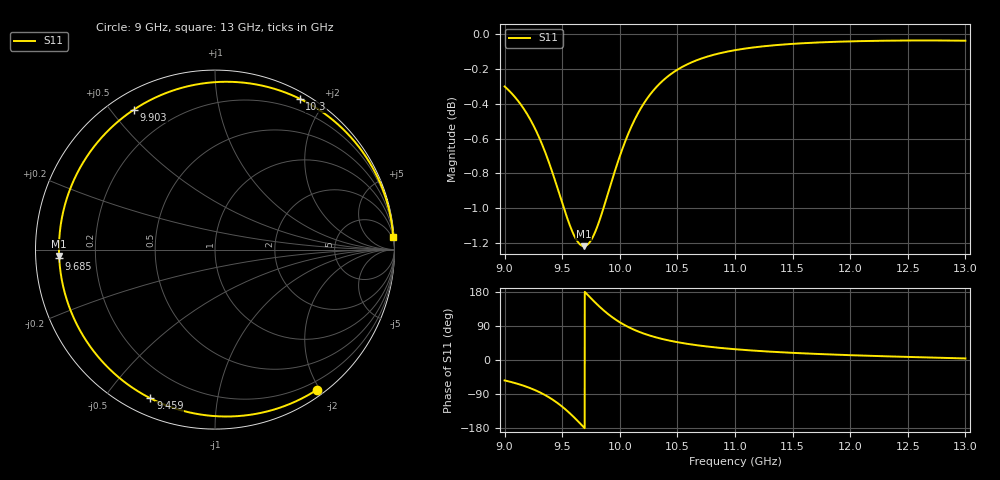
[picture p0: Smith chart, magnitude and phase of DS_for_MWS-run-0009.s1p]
! TOUCHSTONE file generated by CST DESIGN STUDIO
! Date and time: Tue Feb  4 17:17:02 2025
! Project name: C:\Work\MatlabApps\UnitCellOptimizationMatlab\CST\unitcell.cst
! Tree item: Tasks\Sweep1\SPara1\S-Parameters
! Header version: 2024
! Port assignment regex: !\s*Touchstone port\s*([0-9]+)\s*=\s*(CST MWS port|CST DES external port|CST DES block port)\s*(.+)\s* \(\"(.*)\"\)(\s*mode\s*([0-9]+))?.*
! Touchstone port assignment:
! Touchstone port 1 = CST DES external port 1 ("")
# GHz S MA R 50
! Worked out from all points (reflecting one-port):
!   4001 points, 9 GHz to 13 GHz, reference 50 ohm
!   lowest |S11| = -1.2 dB at 9.688 GHz (marker M1), VSWR 14.31, Z = 3.5 - j1 ohm
!   phase of S11 starts at -54 deg and turns -302 deg over the sweep
!   S11 on the Smith chart (normalised r, x): 9 GHz: 0.08, -1.97; 9.459 GHz: 0.07, -0.65; 9.685 GHz: 0.07, -0.03; 9.903 GHz: 0.07, +0.57; 10.3 GHz: 0.07, +1.71; 13 GHz: 2, +28
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9  0.9658 -53.9
9.121  0.9563 -63.6
9.238  0.943 -76.1
9.361  0.9233 -94.2
9.459  0.9033 -113.5
9.5  0.8945 -123.1
9.551  0.8842 -136.4
9.604  0.8754 -151.6
9.646  0.871 -164.4
9.685  0.8694 -176.7
9.688  0.8694 -177.7
9.733  0.8712 168.1
9.781  0.8768 153.3
9.843  0.8881 135.5
9.903  0.9013 120.1
9.95  0.9119 109.5
10  0.9225 99.5
10.067  0.9351 88.1
10.146  0.9473 77.0
10.222  0.9565 68.3
10.303  0.9642 60.6
10.5  0.9765 47.1
10.719  0.984 37.0
11  0.9892 28.4
11.5  0.9933 18.9
12  0.9949 12.7
12.5  0.9955 8.1
13  0.9953 4.1
